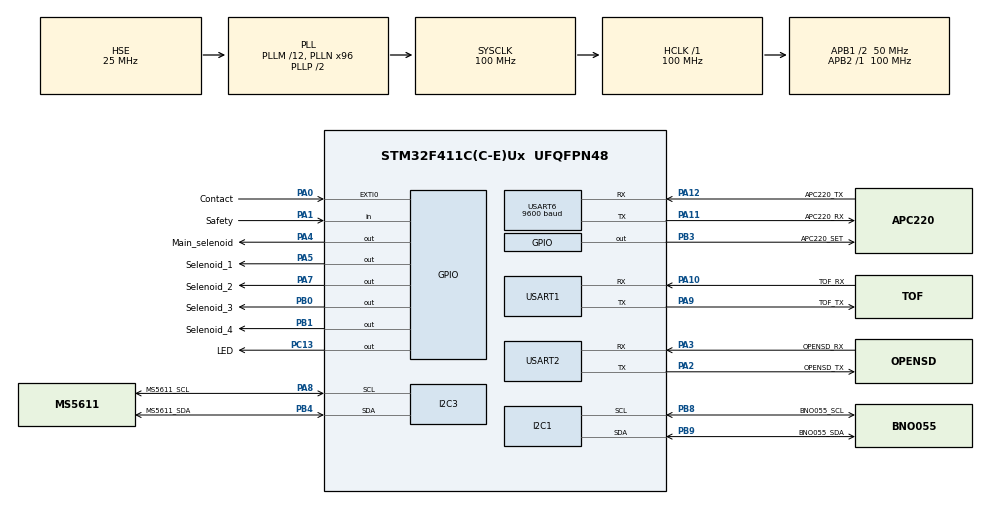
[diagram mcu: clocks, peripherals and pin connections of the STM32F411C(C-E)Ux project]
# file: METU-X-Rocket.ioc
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Dma.Request0=USART6_TX
Dma.Request1=USART2_TX
Dma.Request2=USART1_RX
Dma.USART1_RX.2.Direction=DMA_PERIPH_TO_MEMORY
Dma.USART1_RX.2.FIFOMode=DMA_FIFOMODE_DISABLE
Dma.USART1_RX.2.Instance=DMA2_Stream2
Dma.USART1_RX.2.MemDataAlignment=DMA_MDATAALIGN_BYTE
Dma.USART1_RX.2.MemInc=DMA_MINC_ENABLE
Dma.USART1_RX.2.Mode=DMA_NORMAL
Dma.USART1_RX.2.PeriphDataAlignment=DMA_PDATAALIGN_BYTE
Dma.USART1_RX.2.PeriphInc=DMA_PINC_DISABLE
Dma.USART1_RX.2.Priority=DMA_PRIORITY_LOW
Dma.USART2_TX.1.Direction=DMA_MEMORY_TO_PERIPH
Dma.USART2_TX.1.FIFOMode=DMA_FIFOMODE_DISABLE
Dma.USART2_TX.1.Instance=DMA1_Stream6
Dma.USART2_TX.1.MemDataAlignment=DMA_MDATAALIGN_BYTE
Dma.USART2_TX.1.MemInc=DMA_MINC_ENABLE
Dma.USART2_TX.1.Mode=DMA_NORMAL
Dma.USART2_TX.1.PeriphDataAlignment=DMA_PDATAALIGN_BYTE
Dma.USART2_TX.1.PeriphInc=DMA_PINC_DISABLE
Dma.USART2_TX.1.Priority=DMA_PRIORITY_LOW
Dma.USART6_TX.0.Direction=DMA_MEMORY_TO_PERIPH
Dma.USART6_TX.0.FIFOMode=DMA_FIFOMODE_DISABLE
Dma.USART6_TX.0.Instance=DMA2_Stream6
Dma.USART6_TX.0.MemDataAlignment=DMA_MDATAALIGN_BYTE
Dma.USART6_TX.0.MemInc=DMA_MINC_ENABLE
Dma.USART6_TX.0.Mode=DMA_NORMAL
Dma.USART6_TX.0.PeriphDataAlignment=DMA_PDATAALIGN_BYTE
Dma.USART6_TX.0.PeriphInc=DMA_PINC_DISABLE
Dma.USART6_TX.0.Priority=DMA_PRIORITY_LOW
I2C1.I2C_Mode=I2C_Fast
I2C3.I2C_Mode=I2C_Fast
Mcu.Family=STM32F4
Mcu.Name=STM32F411C(C-E)Ux
Mcu.Package=UFQFPN48
NVIC.DMA1_Stream6_IRQn=true\:0\:0\:false\:false\:true\:false\:true\:true
NVIC.DMA2_Stream2_IRQn=true\:0\:0\:false\:false\:true\:false\:true\:true
NVIC.DMA2_Stream6_IRQn=true\:0\:0\:false\:false\:true\:false\:true\:true
NVIC.EXTI0_IRQn=true\:0\:0\:false\:false\:true\:true\:true\:true
NVIC.PriorityGroup=NVIC_PRIORITYGROUP_4
NVIC.TIM4_IRQn=true\:0\:0\:false\:false\:true\:true\:true\:true
NVIC.USART1_IRQn=true\:0\:0\:false\:false\:true\:true\:true\:true
NVIC.USART2_IRQn=true\:0\:0\:false\:false\:true\:true\:true\:true
NVIC.USART6_IRQn=true\:0\:0\:false\:false\:true\:true\:true\:true
PA0-WKUP.GPIO_Label=Contact
PA0-WKUP.GPIO_PuPd=GPIO_PULLDOWN
PA0-WKUP.Signal=GPXTI0
PA1.GPIO_Label=Safety
PA1.GPIO_PuPd=GPIO_NOPULL
PA1.Signal=GPIO_Input
PA10.GPIO_Label=TOF_RX
PA10.Mode=Asynchronous
PA10.Signal=USART1_RX
PA11.GPIO_Label=APC220_RX
PA11.Mode=Asynchronous
PA11.Signal=USART6_TX
PA12.GPIO_Label=APC220_TX
PA12.Mode=Asynchronous
PA12.Signal=USART6_RX
PA13.Mode=Serial_Wire
PA13.Signal=SYS_JTMS-SWDIO
PA14.Mode=Serial_Wire
PA14.Signal=SYS_JTCK-SWCLK
PA2.GPIO_Label=OPENSD_TX
PA2.Mode=Asynchronous
PA2.Signal=USART2_TX
PA3.GPIO_Label=OPENSD_RX
PA3.Mode=Asynchronous
PA3.Signal=USART2_RX
PA4.GPIO_Label=Main_selenoid
PA4.Signal=GPIO_Output
PA5.GPIO_Label=Selenoid_1
PA5.Signal=GPIO_Output
PA7.GPIO_Label=Selenoid_2
PA7.Signal=GPIO_Output
PA8.GPIO_Label=MS5611_SCL
PA8.Mode=I2C
PA8.Signal=I2C3_SCL
PA9.GPIO_Label=TOF_TX
PA9.Mode=Asynchronous
PA9.Signal=USART1_TX
PB0.GPIO_Label=Selenoid_3
PB0.Signal=GPIO_Output
PB1.GPIO_Label=Selenoid_4
PB1.Signal=GPIO_Output
PB3.GPIO_Label=APC220_SET
PB3.Signal=GPIO_Output
PB4.GPIO_Label=MS5611_SDA
PB4.Mode=I2C
PB4.Signal=I2C3_SDA
PB8.GPIO_Label=BNO055_SCL
PB8.Mode=I2C
PB8.Signal=I2C1_SCL
PB9.GPIO_Label=BNO055_SDA
PB9.Mode=I2C
PB9.Signal=I2C1_SDA
PC13-ANTI_TAMP.GPIO_Label=LED
PC13-ANTI_TAMP.Signal=GPIO_Output
PC14-OSC32_IN.Mode=LSE-External-Oscillator
PC14-OSC32_IN.Signal=RCC_OSC32_IN
PC15-OSC32_OUT.Mode=LSE-External-Oscillator
PC15-OSC32_OUT.Signal=RCC_OSC32_OUT
PH0\ -\ OSC_IN.Mode=HSE-External-Oscillator
PH0\ -\ OSC_IN.Signal=RCC_OSC_IN
PH1\ -\ OSC_OUT.Mode=HSE-External-Oscillator
PH1\ -\ OSC_OUT.Signal=RCC_OSC_OUT
ProjectManager.HeapSize=0x200
ProjectManager.StackSize=0x400
ProjectManager.TargetToolchain=STM32CubeIDE
RCC.48MHZClocksFreq_Value=40000000
RCC.AHBFreq_Value=100000000
RCC.APB1CLKDivider=RCC_HCLK_DIV2
RCC.APB1Freq_Value=50000000
RCC.APB1TimFreq_Value=100000000
RCC.APB2Freq_Value=100000000
RCC.APB2TimFreq_Value=100000000
RCC.CortexFreq_Value=100000000
RCC.HCLKFreq_Value=100000000
RCC.HSE_VALUE=25000000
RCC.HSI_VALUE=16000000
RCC.PLLM=12
RCC.PLLN=96
RCC.PLLQ=5
RCC.PLLSourceVirtual=RCC_PLLSOURCE_HSE
RCC.SYSCLKFreq_VALUE=100000000
RCC.SYSCLKSource=RCC_SYSCLKSOURCE_PLLCLK
RCC.VCOOutputFreq_Value=200000000
TIM4.AutoReloadPreload=TIM_AUTORELOAD_PRELOAD_ENABLE
TIM4.ClockDivision=TIM_CLOCKDIVISION_DIV1
TIM4.Period=999
TIM4.Prescaler=999
USART1.VirtualMode=VM_ASYNC
USART2.VirtualMode=VM_ASYNC
USART6.BaudRate=9600
USART6.VirtualMode=VM_ASYNC
VP_TIM4_VS_ClockSourceINT.Mode=Internal
board=custom

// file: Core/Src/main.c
/* USER CODE BEGIN Header */
/**
  ******************************************************************************
  * @file           : main.c
  * @brief          : Main program body
  ******************************************************************************
  * @attention
  *
  * Copyright (c) 2022 STMicroelectronics.
  * All rights reserved.
  *
  * This software is licensed under terms that can be found in the LICENSE file
  * in the root directory of this software component.
  * If no LICENSE file comes with this software, it is provided AS-IS.
  *
  ******************************************************************************
  */
/* USER CODE END Header */
#include "main.h"
#include "dma.h"
#include "i2c.h"
#include "tim.h"
#include "usart.h"
#include "gpio.h"

/* USER CODE BEGIN Includes */
#include "stdio.h"
#include "bno055_stm32.h"
#include "ms5611.h"
#include "string.h"
#include "control.h"
#include "tof.h"
/* USER CODE END Includes */

/* USER CODE BEGIN PD */
#define MAIN_SELENOID_TIMEOUT 300 // 300 * 10ms = 3 secs
#define MAIN_SELENOID_HEIGHT  700 // 700cm = 7m

/* USER CODE END PD */

/* USER CODE BEGIN PV */

const uint8_t tele_header[] = "Time,Roll,Pitch,Heading,Temperature,Pressure,Distance\n";
uint8_t recv = 0xCD;

float temp = 0;
float pressure = 0;

volatile uint8_t IMU_DTRDY = 0;

bno055_vector_t v;

volatile uint8_t SD_LOG_RDY = 0;
volatile uint8_t BATTERY_RDY = 0;
volatile uint8_t TELEMETRY_RDY = 0;
volatile uint8_t MAIN_THRST_ACTIVATE = GPIO_PIN_RESET;
volatile uint8_t MAIN_THRST_LOCK 	 = 0;

/* USER CODE END PV */

void SystemClock_Config(void);

int main(void)
{

  /* MCU Configuration--------------------------------------------------------*/

  /* Reset of all peripherals, Initializes the Flash interface and the Systick. */
  HAL_Init();

  /* Configure the system clock */
  SystemClock_Config();

  /* Initialize all configured peripherals */
  MX_GPIO_Init();
  MX_DMA_Init();
  MX_I2C1_Init();
  MX_USART6_UART_Init();
  MX_I2C3_Init();
  MX_TIM4_Init();
  MX_USART2_UART_Init();
  MX_USART1_UART_Init();
  /* USER CODE BEGIN 2 */

  TOF_UART_Init(&huart1);

	HAL_GPIO_WritePin(APC220_SET_GPIO_Port, APC220_SET_Pin, GPIO_PIN_SET);

	ms5611_set_i2c(&hi2c3);
	ms5611_init();

	bno055_assignI2C(&hi2c1);
	bno055_setup();
	bno055_setOperationModeNDOF();

	HAL_Delay(5000);

	HAL_UART_Receive(&huart2, &recv, 1, 100);
	HAL_UART_Transmit_DMA(&huart2, tele_header, sizeof(tele_header));
	HAL_UART_Receive(&huart2, &recv, 1, 100);

	HAL_GPIO_WritePin(LED_GPIO_Port, LED_Pin, GPIO_PIN_SET);

	while(HAL_GPIO_ReadPin(Safety_GPIO_Port, Safety_Pin) == GPIO_PIN_SET);

	HAL_TIM_Base_Start_IT(&htim4);

  /* USER CODE END 2 */

  /* Infinite loop */
  while (1)
  {

    /* USER CODE BEGIN 3 */

	if (!MAIN_THRST_LOCK && (tof_meas < MAIN_SELENOID_HEIGHT)) {
		MAIN_THRST_ACTIVATE = GPIO_PIN_SET;
		MAIN_THRST_LOCK = 1;
	}

	if (IMU_DTRDY) {
		v = bno055_getVectorEuler();
		printf("Roll: %.2f\tPitch: %.2f\tYaw: %.2f\n", v.x, v.y, v.z);
		IMU_DTRDY = 0;

		ms5611_update();
		temp = ms5611_get_temperature();
		pressure = ms5611_get_pressure();
		printf("Temp: %.2f\tPressure: %.2f\n", temp, pressure);

		Control(&SELENOID_STATES, v.x, v.y);
	}

	if(SD_LOG_RDY){
		char s[150] = {0};
		sprintf(s, "%ld,%.2f,%.2f,%.2f,%.2f,%.2f,%d\n", HAL_GetTick(), v.x, v.y, v.z, temp, pressure, tof_meas);
		uint8_t len = strlen(s);
		HAL_UART_Transmit_DMA(&huart2, (const uint8_t*) s, len);

		SD_LOG_RDY = 0;
	}

	if(TELEMETRY_RDY) {
		HAL_GPIO_TogglePin(LED_GPIO_Port, LED_Pin);

		char s[150] = {0};
		sprintf(s, "%ld,%.2f,%.2f,%.2f,%.2f,%.2f,%d\n", HAL_GetTick(), v.x, v.y, v.z, temp, pressure, tof_meas);
		uint8_t len = strlen(s);
		HAL_UART_Transmit_DMA(&huart6, (const uint8_t*)s, len);
		TELEMETRY_RDY = 0;
	}

	AssignOutputs(SELENOID_STATES);

  }
  /* USER CODE END 3 */
}

void SystemClock_Config(void)
{
  RCC_OscInitTypeDef RCC_OscInitStruct = {0};
  RCC_ClkInitTypeDef RCC_ClkInitStruct = {0};

  /** Configure the main internal regulator output voltage
  */
  __HAL_RCC_PWR_CLK_ENABLE();
  __HAL_PWR_VOLTAGESCALING_CONFIG(PWR_REGULATOR_VOLTAGE_SCALE1);

  /** Initializes the RCC Oscillators according to the specified parameters
  * in the RCC_OscInitTypeDef structure.
  */
  RCC_OscInitStruct.OscillatorType = RCC_OSCILLATORTYPE_HSE;
  RCC_OscInitStruct.HSEState = RCC_HSE_ON;
  RCC_OscInitStruct.PLL.PLLState = RCC_PLL_ON;
  RCC_OscInitStruct.PLL.PLLSource = RCC_PLLSOURCE_HSE;
  RCC_OscInitStruct.PLL.PLLM = 12;
  RCC_OscInitStruct.PLL.PLLN = 96;
  RCC_OscInitStruct.PLL.PLLP = RCC_PLLP_DIV2;
  RCC_OscInitStruct.PLL.PLLQ = 5;
  if (HAL_RCC_OscConfig(&RCC_OscInitStruct) != HAL_OK)
  {
    Error_Handler();
  }

  /** Initializes the CPU, AHB and APB buses clocks
  */
  RCC_ClkInitStruct.ClockType = RCC_CLOCKTYPE_HCLK|RCC_CLOCKTYPE_SYSCLK
                              |RCC_CLOCKTYPE_PCLK1|RCC_CLOCKTYPE_PCLK2;
  RCC_ClkInitStruct.SYSCLKSource = RCC_SYSCLKSOURCE_PLLCLK;
  RCC_ClkInitStruct.AHBCLKDivider = RCC_SYSCLK_DIV1;
  RCC_ClkInitStruct.APB1CLKDivider = RCC_HCLK_DIV2;
  RCC_ClkInitStruct.APB2CLKDivider = RCC_HCLK_DIV1;

  if (HAL_RCC_ClockConfig(&RCC_ClkInitStruct, FLASH_LATENCY_3) != HAL_OK)
  {
    Error_Handler();
  }
}

/* USER CODE BEGIN 4 */
int __io_putchar(int ch) {
    ITM_SendChar(ch);
    return ch;
}

void HAL_TIM_PeriodElapsedCallback(TIM_HandleTypeDef *htim)
{
  static uint8_t Counter_10ms = 1;
  static uint32_t main_counter = 0;

  if (htim == &htim4 ){

	  IMU_DTRDY = 1;

	  if (Counter_10ms == 20) {
		  TELEMETRY_RDY = 1;
	  }

	  if (Counter_10ms == 50) {
		  SD_LOG_RDY = 1;
	  }

	  if (Counter_10ms == 100) {
		  BATTERY_RDY   = 1;
		  SD_LOG_RDY = 1;
		  Counter_10ms = 0;
	  }

	  if((!MAIN_THRST_LOCK) && (MAIN_THRST_ACTIVATE == GPIO_PIN_RESET)) {
		  main_counter++;
		  if(main_counter == MAIN_SELENOID_TIMEOUT){	// 1 sec, only once
			  MAIN_THRST_ACTIVATE = GPIO_PIN_SET;
			  MAIN_THRST_LOCK = 1;
		  }
	  }

	  Counter_10ms++;

  }
}

void HAL_GPIO_EXTI_Callback(uint16_t GPIO_Pin)
{
  if(GPIO_Pin == Contact_Pin) {
	  MAIN_THRST_ACTIVATE = GPIO_PIN_RESET;
  }

}
/* USER CODE END 4 */

void Error_Handler(void)
{
  __disable_irq();
  while (1)
  {
  }
}
